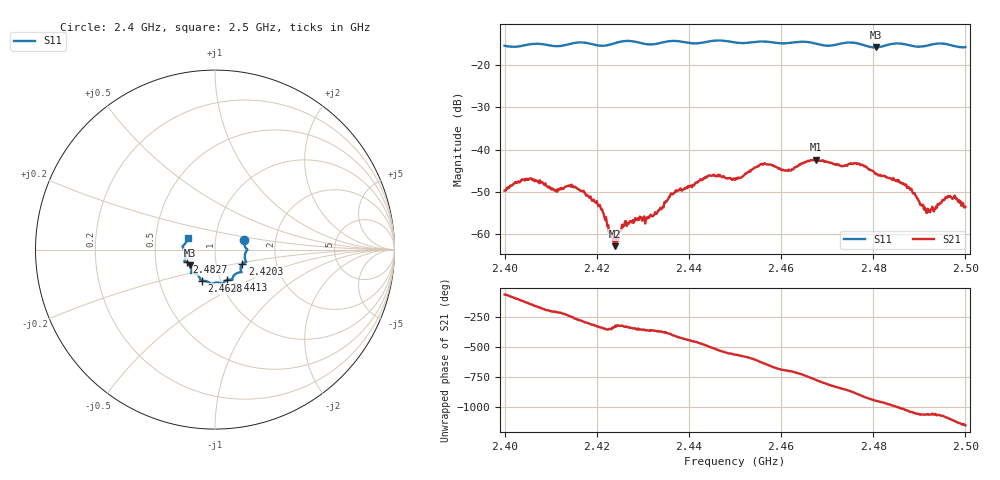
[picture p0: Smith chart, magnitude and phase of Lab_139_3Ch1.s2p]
# Hz S RI R 50
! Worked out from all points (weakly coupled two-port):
!   601 points, 2.4 GHz to 2.5 GHz, reference 50 ohm
!   highest |S21| = -42.40 dB at 2.4675 GHz (marker M1); lowest = -62.9 dB at 2.424 GHz (marker M2)
!   lowest |S11| = -15.7 dB at 2.4805 GHz (marker M3), VSWR 1.39, Z = 37.3 - j6.66 ohm
!   |S11| at or under -10 dB: start of sweep to end of sweep
!   S12 and S22 are empty: the file has one direction only
!   S11 on the Smith chart (normalised r, x): 2.4 GHz: 1.38, +0.15; 2.4203 GHz: 1.34, -0.22; 2.4413 GHz: 1.08, -0.38; 2.4628 GHz: 0.82, -0.29; 2.4827 GHz: 0.72, -0.11; 2.5 GHz: 0.73, +0.10
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2.4e9  0.1626 0.0526  0.00133 -0.00297  0 0  0 0
2.405333e9  0.1774 0.00248  -0.00353 -0.00274  0 0  0 0
2.416667e9  0.1737 -0.0697  0.000779 0.00311  0 0  0 0
2.420333e9  0.1527 -0.0799  0.0019 0.000966  0 0  0 0
2.424e9  0.1437 -0.1143  0.00058 0.000414  0 0  0 0
2.425833e9  0.1481 -0.1249  0.00108 0.0006  0 0  0 0
2.433333e9  0.1002 -0.1519  0.00187 -0.000321  0 0  0 0
2.4365e9  0.0977 -0.1688  0.00202 -0.00214  0 0  0 0
2.441333e9  0.0674 -0.1693  -0.00074 -0.00391  0 0  0 0
2.444833e9  0.0441 -0.1894  -0.00411 -0.00263  0 0  0 0
2.45e9  0.0245 -0.1852  -0.00389 0.002  0 0  0 0
2.456e9  -0.0205 -0.191  0.000644 0.00658  0 0  0 0
2.462833e9  -0.0716 -0.1735  0.00601 0.000864  0 0  0 0
2.466667e9  -0.0813 -0.1672  0.00533 -0.00525  0 0  0 0
2.4675e9  -0.0827 -0.1615  0.00412 -0.00637  0 0  0 0
2.4805e9  -0.1383 -0.0868  -0.00316 0.00401  0 0  0 0
2.482667e9  -0.1571 -0.0706  -0.00131 0.00465  0 0  0 0
2.483333e9  -0.1624 -0.0683  -0.000671 0.00453  0 0  0 0
2.488e9  -0.1657 -0.0475  0.00272 0.00195  0 0  0 0
2.491833e9  -0.1724 0.000219  0.0019 0.000574  0 0  0 0
2.496333e9  -0.1751 0.0242  0.00268 -0.000884  0 0  0 0
2.5e9  -0.1517 0.064  0.000441 -0.00204  0 0  0 0
